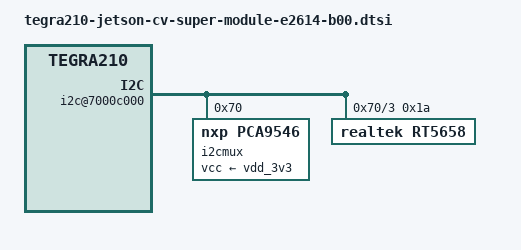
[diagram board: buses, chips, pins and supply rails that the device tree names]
/*
 * Jetson-CV B00 Super Module peripherals
 *
 * Copyright (c) 2015, NVIDIA CORPORATION.  All rights reserved.
 *
 * This program is free software; you can redistribute it and/or modify
 * it under the terms of the GNU General Public License as published by
 * the Free Software Foundation; version 2 of the License.
 *
 * This program is distributed in the hope that it will be useful, but WITHOUT
 * ANY WARRANTY; without even the implied warranty of MERCHANTABILITY or
 * FITNESS FOR A PARTICULAR PURPOSE.  See the GNU General Public License for
 * more details.
 *
 */

#include "tegra210-jetson-cv-super-module-e2614-base.dtsi"

/ {

	i2c@7000c000 {
		i2cmux@70 {
			compatible = "nxp,pca9546";
			reg = <0x70>;
			#address-cells = <1>;
			#size-cells = <0>;
			vcc-supply = <&vdd_3v3>;
			i2c@0 {
				reg = <0>;
				i2c-mux,deselect-on-exit;
				#address-cells = <1>;
				#size-cells = <0>;
			};
			i2c@1 {
				reg = <1>;
				i2c-mux,deselect-on-exit;
				#address-cells = <1>;
				#size-cells = <0>;
			};
			i2c@2 {
				reg = <2>;
				i2c-mux,deselect-on-exit;
				#address-cells = <1>;
				#size-cells = <0>;
			};
			i2c@3 {
				reg = <3>;
				i2c-mux,deselect-on-exit;
				#address-cells = <1>;
				#size-cells = <0>;
				rt5658: rt5659.10-001a@1a {
					compatible = "realtek,rt5658";
					reg = <0x1a>;
				};
			};
		};
	};

	/* extended sound node for superIO */
	sound {
		nvidia,dai-link-1 {
			codec-dai = <&rt5658>;
		};
	};
};
